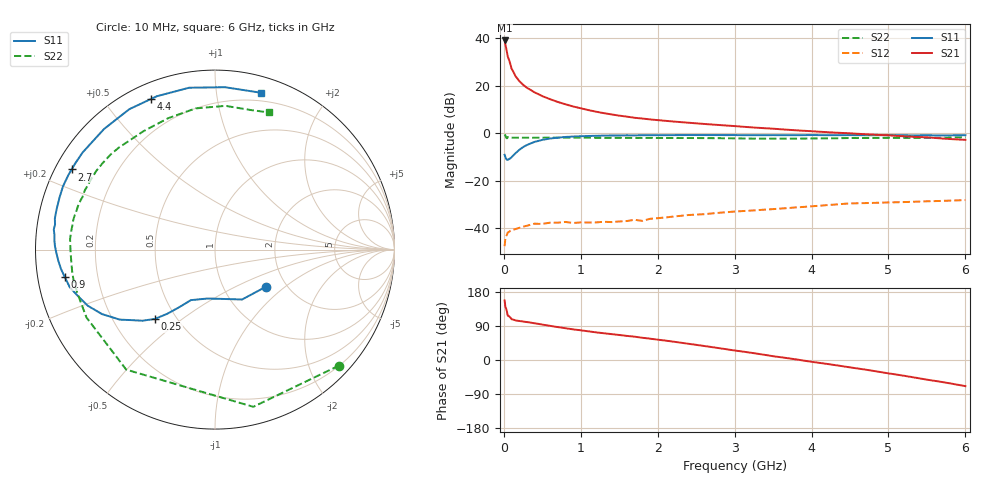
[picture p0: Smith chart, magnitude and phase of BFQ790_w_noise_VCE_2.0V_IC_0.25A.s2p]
! Infineon Technologies  Discrete & RF Semiconductors
! BFQ790
! VCE =  2.0 V,  IC = 0.25 A
! Common Emitter S-Parameters:  May 2015
# GHz  S  MA  R  50
!  f  S11  S21  S12  S22
! GHz  MAG  ANG  MAG  ANG  MAG  ANG  MAG  ANG
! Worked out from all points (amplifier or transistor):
!   77 points, 10 MHz to 6 GHz, reference 50 ohm
!   highest |S21| = 39.1 dB at 10 MHz (marker M1)
!   |S21| within 3 dB of that: start of sweep to 28.87 MHz
!   unconditionally stable (mu >= 1): 247.7 MHz to 535 MHz; 635.3 MHz to 753.8 MHz; 837.3 MHz to end of sweep
!   at 130 MHz: K = 0.77, MSG = 33.0 dB, |S12| = -40.5 dB
!   at 2.2 GHz: K = 1.28, MAG = 16.8 dB, |S12| = -35.1 dB
!   at 6 GHz: K = 1.10, MAG = 10.7 dB, |S12| = -28.1 dB
!   lowest NFmin = 3.72 dB at 1.5 GHz
!   S11 on the Smith chart (normalised r, x): 10 MHz: 1.57, -0.74; 250 MHz: 0.38, -0.40; 900 MHz: 0.08, -0.09; 2.7 GHz: 0.05, +0.26; 4.4 GHz: 0.07, +0.66; 6 GHz: 0.13, +1.33
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0.01  0.3509 -36.2  89.78 157.2  0.0042 65.3  0.9459 -43.1
0.02  0.3163 -61.5  74.01 140.2  0.0061 49.2  0.9015 -76.3
0.05  0.2755 -98.5  41.53 117.4  0.0081 28.5  0.8318 -126.5
0.1  0.3119 -115.5  22.92 107.7  0.0092 16.2  0.8098 -152.2
0.15  0.3772 -121.8  16.04 104.6  0.0096 22.1  0.8044 -162.7
0.2  0.4464 -126.7  12.58 103.0  0.0102 22.1  0.8064 -168.0
0.25  0.5108 -130.9  10.5 101.5  0.0108 16.3  0.8048 -171.7
0.3  0.5663 -135.6  9.048 100.1  0.0113 15.7  0.8035 -174.5
0.4  0.659 -143.7  7.242 96.8  0.0125 15.5  0.8048 -178.7
0.5  0.7251 -150.3  6.049 93.4  0.0124 11.9  0.8065 178.3
0.6  0.7747 -156.2  5.219 90.2  0.0131 13.4  0.8096 175.8
0.7  0.8063 -161.3  4.562 86.9  0.0131 15.2  0.8082 173.6
0.9  0.8509 -169.6  3.663 80.8  0.0129 10.8  0.8057 170.1
1.1  0.8757 -176.1  3.072 75.6  0.0132 13.1  0.8052 166.7
1.5  0.8982 174.8  2.35 66.0  0.0139 15.3  0.7991 161.0
2.1  0.9116 163.5  1.827 51.2  0.0169 16.2  0.7939 152.1
2.7  0.915 150.8  1.529 34.2  0.0205 12.1  0.7877 140.1
3.1  0.9118 141.6  1.375 22.4  0.023 6.9  0.7762 130.9
4.1  0.9135 119.3  1.078 -7.5  0.0298 -8.4  0.7779 107.2
4.4  0.9119 112.9  1.014 -16.3  0.0325 -14.2  0.7881 100.1
5.1  0.9084 96.6  0.884 -38.3  0.0353 -29.3  0.8009 83.8
6  0.9107 73.7  0.727 -69.0  0.0392 -50.2  0.821 68.5
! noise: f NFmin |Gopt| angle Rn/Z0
0.45  6.14  0.5  143  0.6
0.9  4.32  0.63  168  0.19
1.5  3.72  0.73  -171  0.1
1.8  3.74  0.74  -167  0.12
2.6  3.94  0.76  -151  0.32
3.5  4.4  0.85  -134  0.67
